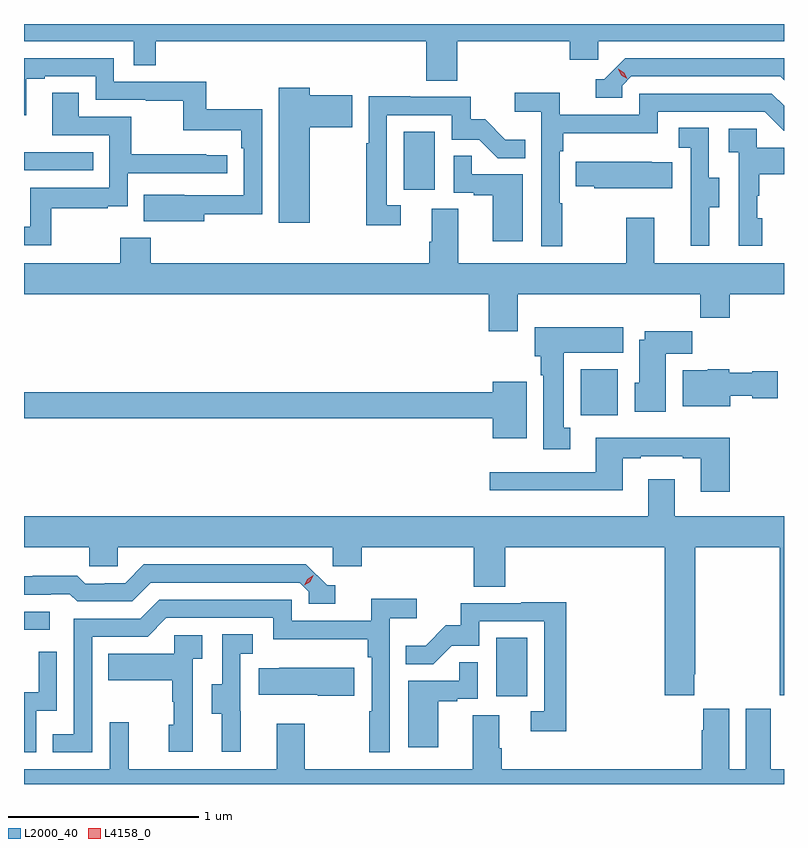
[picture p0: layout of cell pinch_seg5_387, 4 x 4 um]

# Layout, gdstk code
import gdstk
lib = gdstk.Library(unit=1e-6, precision=1e-09)
def R(c, l, rs):  # rectangles x0, y0, x1, y1
    for r in rs: c.add(gdstk.rectangle(r[:2], r[2:], *l))
def P(c, l, *ps):  # polygons
    for p in ps: c.add(gdstk.Polygon(p, *l))
L2000_40 = (2000, 40)
L4158_0 = (4158, 0)

pinch_seg5_387 = lib.new_cell('pinch_seg5_387')
R(pinch_seg5_387, L2000_40, [(986.096,873.294,986.26,873.601), (983.611,873.642,983.746,873.738), (986.54,874.772,986.737,875.014), (985.61,875.958,985.774,876.265), (983.611,876.06,983.975,876.156)])
P(pinch_seg5_387, L2000_40, [(985.892,876.74),(986.483,876.74),(986.483,876.642),(986.634,876.642),(986.634,876.74),(987.611,876.74),(987.611,876.831),(983.611,876.831),(983.611,876.74),(984.189,876.74),(984.189,876.613),(984.305,876.613),(984.305,876.74),(985.727,876.74),(985.727,876.532),(985.892,876.532)],
  [(984.559,875.83),(984.864,875.83),(984.864,876.382),(984.571,876.382),(984.571,876.528),(984.084,876.528),(984.084,876.651),(983.611,876.651),(983.611,876.35),(983.623,876.35),(983.623,876.543),(983.719,876.543),(983.719,876.555),(983.988,876.555),(983.988,876.432),(984.253,876.432),(984.253,876.427),(984.45,876.427),(984.45,876.272),(984.755,876.272),(984.755,876.176),(984.768,876.176),(984.768,875.931),(984.455,875.931),(984.455,875.932),(984.241,875.932),(984.241,875.792),(984.559,875.792)],
  [(986.76,876.507),(986.808,876.555),(987.591,876.555),(987.611,876.535),(987.611,876.651),(986.775,876.651),(986.664,876.54),(986.621,876.54),(986.621,876.444),(986.76,876.444)],
  [(985.114,876.287),(985.339,876.287),(985.339,876.457),(985.114,876.457),(985.114,876.496),(984.953,876.496),(984.953,875.784),(985.114,875.784)],
  [(983.755,875.862),(984.053,875.862),(984.053,875.873),(984.156,875.873),(984.156,876.045),(984.682,876.045),(984.682,876.141),(984.569,876.141),(984.569,876.146),(984.176,876.146),(984.176,876.342),(983.899,876.342),(983.899,876.47),(983.759,876.47),(983.759,876.246),(984.06,876.246),(984.06,875.97),(983.644,875.97),(983.644,875.764),(983.611,875.764),(983.611,875.667),(983.755,875.667)],
  [(986.443,875.888),(986.43,875.888),(986.43,876.161),(986.45,876.161),(986.45,876.257),(986.946,876.257),(986.946,876.369),(987.51,876.369),(987.609,876.27),(987.611,876.27),(987.611,876.401),(987.547,876.465),(986.85,876.465),(986.85,876.354),(986.432,876.354),(986.432,876.47),(986.193,876.47),(986.193,876.368),(986.334,876.368),(986.334,875.661),(986.443,875.661)],
  [(985.594,875.877),(985.521,875.877),(985.521,876.351),(985.863,876.351),(985.863,876.222),(986.007,876.222),(986.105,876.124),(986.249,876.124),(986.249,876.223),(986.145,876.223),(986.038,876.33),(985.962,876.33),(985.962,876.447),(985.643,876.447),(985.643,876.452),(985.425,876.452),(985.425,876.203),(985.413,876.203),(985.413,875.772),(985.594,875.772)],
  [(987.217,875.866),(987.271,875.866),(987.271,876.021),(987.216,876.021),(987.216,876.284),(987.057,876.284),(987.057,876.181),(987.12,876.181),(987.12,875.877),(987.119,875.877),(987.119,875.664),(987.217,875.664)],
  [(987.496,875.808),(987.471,875.808),(987.471,875.927),(987.481,875.927),(987.481,876.041),(987.611,876.041),(987.611,876.181),(987.468,876.181),(987.468,876.279),(987.321,876.279),(987.321,876.155),(987.372,876.155),(987.372,875.664),(987.496,875.664)],
  [(986.236,876.039),(985.967,876.039),(985.967,876.137),(985.872,876.137),(985.872,875.943),(985.979,875.943),(985.979,875.931),(986.078,875.931),(986.078,875.688),(986.236,875.688)],
  [(987.023,876.103),(986.915,876.103),(986.915,876.106),(986.515,876.106),(986.515,875.977),(986.613,875.977),(986.613,875.966),(987.023,875.966)],
  [(986.209,875.408),(987.169,875.408),(987.169,875.284),(987.326,875.284),(987.326,875.408),(987.611,875.408),(987.611,875.572),(986.929,875.572),(986.929,875.812),(986.782,875.812),(986.782,875.572),(985.897,875.572),(985.897,875.858),(985.757,875.858),(985.757,875.684),(985.745,875.684),(985.745,875.572),(984.278,875.572),(984.278,875.707),(984.118,875.707),(984.118,875.572),(983.611,875.572),(983.611,875.408),(986.057,875.408),(986.057,875.214),(986.209,875.214)],
  [(986.485,874.706),(986.452,874.706),(986.452,875.102),(986.764,875.102),(986.764,875.236),(986.3,875.236),(986.3,875.082),(986.33,875.082),(986.33,874.982),(986.345,874.982),(986.345,874.593),(986.485,874.593)],
  [(986.989,875.096),(987.128,875.096),(987.128,875.215),(986.879,875.215),(986.879,875.17),(986.849,875.17),(986.849,874.944),(986.825,874.944),(986.825,874.79),(986.989,874.79)],
  [(987.328,874.874),(987.444,874.874),(987.444,874.862),(987.577,874.862),(987.577,875.004),(987.444,875.004),(987.444,874.996),(987.324,874.996),(987.324,875.014),(987.21,875.014),(987.21,875.008),(987.077,875.008),(987.077,874.82),(987.328,874.82)],
  [(986.257,874.948),(986.078,874.948),(986.078,874.892),(983.611,874.892),(983.611,874.756),(986.078,874.756),(986.078,874.652),(986.257,874.652)],
  [(987.326,874.654),(986.621,874.654),(986.621,874.473),(986.061,874.473),(986.061,874.376),(986.761,874.376),(986.761,874.545),(986.857,874.545),(986.857,874.557),(987.077,874.557),(987.077,874.545),(987.173,874.545),(987.173,874.368),(987.326,874.368)],
  [(987.139,873.409),(987.144,873.409),(987.144,874.076),(987.589,874.076),(987.589,873.297),(987.611,873.297),(987.611,874.24),(987.037,874.24),(987.037,874.435),(986.897,874.435),(986.897,874.24),(983.611,874.24),(983.611,874.076),(983.955,874.076),(983.955,873.978),(984.105,873.978),(984.105,874.076),(985.236,874.076),(985.236,873.978),(985.388,873.978),(985.388,874.076),(985.979,874.076),(985.979,873.868),(986.144,873.868),(986.144,874.076),(986.984,874.076),(986.984,873.297),(987.139,873.297)],
  [(985.249,873.876),(985.206,873.876),(985.095,873.987),(984.242,873.987),(984.143,873.888),(984.036,873.888),(984.036,873.885),(983.933,873.885),(983.891,873.928),(983.658,873.928),(983.658,873.925),(983.611,873.925),(983.611,873.828),(983.753,873.828),(983.753,873.831),(983.852,873.831),(983.891,873.792),(984.18,873.792),(984.279,873.891),(985.062,873.891),(985.11,873.843),(985.11,873.78),(985.249,873.78)],
  [(983.97,873.606),(984.261,873.606),(984.36,873.705),(984.924,873.705),(984.924,873.593),(985.42,873.593),(985.42,873.497),(985.44,873.497),(985.44,873.215),(985.428,873.215),(985.428,872.997),(985.536,872.997),(985.536,873.704),(985.678,873.704),(985.678,873.806),(985.439,873.806),(985.439,873.69),(985.02,873.69),(985.02,873.801),(984.323,873.801),(984.224,873.702),(983.874,873.702),(983.874,873.093),(983.761,873.093),(983.761,872.997),(983.97,872.997)],
  [(986.465,873.788),(986.227,873.788),(986.227,873.783),(985.909,873.783),(985.909,873.666),(985.832,873.666),(985.725,873.559),(985.621,873.559),(985.621,873.46),(985.765,873.46),(985.863,873.558),(986.007,873.558),(986.007,873.687),(986.349,873.687),(986.349,873.213),(986.277,873.213),(986.277,873.108),(986.465,873.108)],
  [(984.752,873.213),(984.75,873.213),(984.75,873.517),(984.814,873.517),(984.814,873.62),(984.654,873.62),(984.654,873.357),(984.599,873.357),(984.599,873.202),(984.653,873.202),(984.653,873),(984.752,873)],
  [(984.498,873.491),(984.55,873.491),(984.55,873.615),(984.402,873.615),(984.402,873.517),(984.055,873.517),(984.055,873.377),(984.39,873.377),(984.39,873.263),(984.4,873.263),(984.4,873.144),(984.374,873.144),(984.374,873),(984.498,873)],
  [(983.676,873.216),(983.784,873.216),(983.784,873.526),(983.688,873.526),(983.688,873.314),(983.611,873.314),(983.611,872.997),(983.676,872.997)],
  [(985.792,873.267),(985.892,873.267),(985.892,873.279),(985.998,873.279),(985.998,873.473),(985.903,873.473),(985.903,873.375),(985.634,873.375),(985.634,873.024),(985.792,873.024)],
  [(985.348,873.442),(984.955,873.442),(984.955,873.439),(984.847,873.439),(984.847,873.302),(985.157,873.302),(985.157,873.295),(985.348,873.295)],
  [(987.611,872.908),(987.541,872.908),(987.541,873.226),(987.41,873.226),(987.41,872.908),(987.322,872.908),(987.322,873.226),(987.185,873.226),(987.185,873.113),(987.179,873.113),(987.179,872.908),(986.126,872.908),(986.126,873.02),(986.113,873.02),(986.113,873.194),(985.973,873.194),(985.973,872.908),(985.089,872.908),(985.089,873.148),(984.941,873.148),(984.941,872.908),(984.161,872.908),(984.161,873.157),(984.063,873.157),(984.063,872.908),(983.611,872.908),(983.611,872.831),(987.611,872.831)])
P(pinch_seg5_387, L4158_0, [(986.785,876.542),(986.754,876.562),(986.739,876.595),(986.739,876.595),(986.739,876.595),(986.769,876.575),(986.785,876.542),(986.785,876.542)],
  [(985.087,873.876),(985.087,873.876),(985.103,873.909),(985.133,873.929),(985.134,873.929),(985.134,873.929),(985.118,873.896),(985.087,873.876)])

lib.write_gds('pinch_seg5_387.gds')
